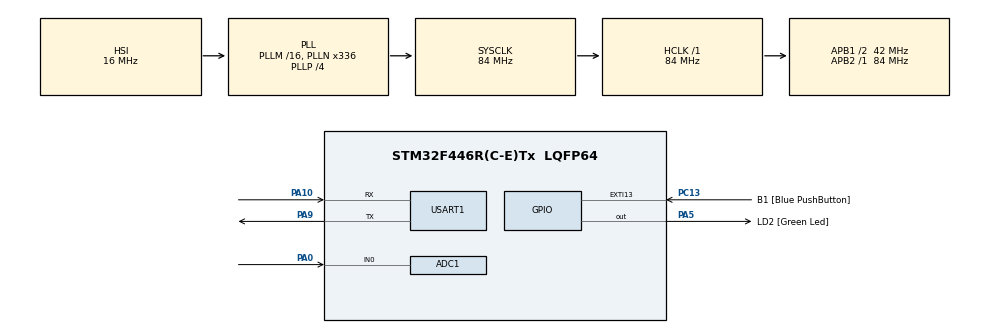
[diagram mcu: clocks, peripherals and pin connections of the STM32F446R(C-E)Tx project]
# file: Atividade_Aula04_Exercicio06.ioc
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ADC1.Channel-0\#ChannelRegularConversion=ADC_CHANNEL_0
ADC1.NbrOfConversionFlag=1
ADC1.Rank-0\#ChannelRegularConversion=1
ADC1.SamplingTime-0\#ChannelRegularConversion=ADC_SAMPLETIME_3CYCLES
ADC1.master=1
FREERTOS.BinarySemaphores01=semStart,Dynamic,NULL,Depleted;semCalc,Dynamic,NULL,Depleted;semSave,Dynamic,NULL,Depleted;semSend,Dynamic,NULL,Depleted
FREERTOS.Events01=TaskADCInit,Dynamic,NULL
FREERTOS.Tasks01=TaskADC,24,256,StartTaskADC,Default,NULL,Dynamic,NULL,NULL;TaskCalc,8,256,StartTaskCalc,Default,NULL,Dynamic,NULL,NULL;TaskSave,8,256,StartTaskSave,Default,NULL,Dynamic,NULL,NULL;TaskSend,8,256,StartTaskSend,Default,NULL,Dynamic,NULL,NULL
FREERTOS.configUSE_NEWLIB_REENTRANT=1
Mcu.Family=STM32F4
Mcu.Name=STM32F446R(C-E)Tx
Mcu.Package=LQFP64
NVIC.EXTI15_10_IRQn=true\:5\:0\:false\:false\:true\:true\:true\:true\:true
NVIC.PriorityGroup=NVIC_PRIORITYGROUP_4
NVIC.TIM6_DAC_IRQn=true\:15\:0\:false\:false\:true\:false\:false\:true\:true
NVIC.TimeBase=TIM6_DAC_IRQn
NVIC.TimeBaseIP=TIM6
PA0-WKUP.Signal=ADCx_IN0
PA10.Mode=Asynchronous
PA10.Signal=USART1_RX
PA13.GPIO_Label=TMS
PA13.Mode=Serial_Wire
PA13.Signal=SYS_JTMS-SWDIO
PA14.GPIO_Label=TCK
PA14.Mode=Serial_Wire
PA14.Signal=SYS_JTCK-SWCLK
PA5.GPIO_Label=LD2 [Green Led]
PA5.Signal=GPIO_Output
PA9.Mode=Asynchronous
PA9.Signal=USART1_TX
PB3.GPIO_Label=SWO
PB3.Signal=SYS_JTDO-SWO
PC13.GPIO_Label=B1 [Blue PushButton]
PC13.GPIO_ModeDefaultEXTI=GPIO_MODE_IT_FALLING
PC13.Signal=GPXTI13
PC14-OSC32_IN.Mode=LSE-External-Oscillator
PC14-OSC32_IN.Signal=RCC_OSC32_IN
PC15-OSC32_OUT.Mode=LSE-External-Oscillator
PC15-OSC32_OUT.Signal=RCC_OSC32_OUT
PH0-OSC_IN.Mode=HSE-External-Oscillator
PH0-OSC_IN.Signal=RCC_OSC_IN
PH1-OSC_OUT.Mode=HSE-External-Oscillator
PH1-OSC_OUT.Signal=RCC_OSC_OUT
ProjectManager.HeapSize=0x200
ProjectManager.StackSize=0x400
ProjectManager.TargetToolchain=STM32CubeIDE
RCC.48MHZClocksFreq_Value=84000000
RCC.AHBFreq_Value=84000000
RCC.APB1CLKDivider=RCC_HCLK_DIV2
RCC.APB1Freq_Value=42000000
RCC.APB1TimFreq_Value=84000000
RCC.APB2Freq_Value=84000000
RCC.APB2TimFreq_Value=84000000
RCC.CortexFreq_Value=84000000
RCC.FLatency-AdvancedSettings=FLASH_LATENCY_2
RCC.HCLKFreq_Value=84000000
RCC.HSE_VALUE=8000000
RCC.HSI_VALUE=16000000
RCC.PLLN=336
RCC.PLLP=RCC_PLLP_DIV4
RCC.SYSCLKFreq_VALUE=84000000
RCC.SYSCLKSource=RCC_SYSCLKSOURCE_PLLCLK
RCC.USBFreq_Value=168000000
RCC.VCOOutputFreq_Value=336000000
SH.ADCx_IN0.0=ADC1_IN0,IN0
USART1.VirtualMode=VM_ASYNC
VP_FREERTOS_VS_CMSIS_V2.Mode=CMSIS_V2
VP_SYS_VS_tim6.Mode=TIM6
board=NUCLEO-F446RE

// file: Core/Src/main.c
/* USER CODE BEGIN Header */
/**
  ******************************************************************************
  * @file           : main.c
  * @brief          : Main program body
  ******************************************************************************
  * @attention
  *
  * Copyright (c) 2025 STMicroelectronics.
  * All rights reserved.
  *
  * This software is licensed under terms that can be found in the LICENSE file
  * in the root directory of this software component.
  * If no LICENSE file comes with this software, it is provided AS-IS.
  *
  ******************************************************************************
  */
/* USER CODE END Header */
#include "main.h"
#include "cmsis_os.h"

/* USER CODE BEGIN Includes */
#include<string.h>
#include<stdio.h>

/* USER CODE END Includes */

/* USER CODE BEGIN PD */
/*#define TASK_ADC_INIT 0x001*/
#define ADC_SAMPLES 100
#define SIZE_HISTORY_ADC 10

/* USER CODE END PD */

ADC_HandleTypeDef hadc1;

UART_HandleTypeDef huart1;

/* Definitions for TaskADC */
osThreadId_t TaskADCHandle;
const osThreadAttr_t TaskADC_attributes = {
  .name = "TaskADC",
  .stack_size = 256 * 4,
  .priority = (osPriority_t) osPriorityNormal,
};
/* Definitions for TaskCalc */
osThreadId_t TaskCalcHandle;
const osThreadAttr_t TaskCalc_attributes = {
  .name = "TaskCalc",
  .stack_size = 256 * 4,
  .priority = (osPriority_t) osPriorityLow,
};
/* Definitions for TaskSave */
osThreadId_t TaskSaveHandle;
const osThreadAttr_t TaskSave_attributes = {
  .name = "TaskSave",
  .stack_size = 256 * 4,
  .priority = (osPriority_t) osPriorityLow,
};
/* Definitions for TaskSend */
osThreadId_t TaskSendHandle;
const osThreadAttr_t TaskSend_attributes = {
  .name = "TaskSend",
  .stack_size = 256 * 4,
  .priority = (osPriority_t) osPriorityLow,
};
/* Definitions for semStart */
osSemaphoreId_t semStartHandle;
const osSemaphoreAttr_t semStart_attributes = {
  .name = "semStart"
};
/* Definitions for semCalc */
osSemaphoreId_t semCalcHandle;
const osSemaphoreAttr_t semCalc_attributes = {
  .name = "semCalc"
};
/* Definitions for semSave */
osSemaphoreId_t semSaveHandle;
const osSemaphoreAttr_t semSave_attributes = {
  .name = "semSave"
};
/* Definitions for semSend */
osSemaphoreId_t semSendHandle;
const osSemaphoreAttr_t semSend_attributes = {
  .name = "semSend"
};
/* Definitions for TaskADCInit */
osEventFlagsId_t TaskADCInitHandle;
const osEventFlagsAttr_t TaskADCInit_attributes = {
  .name = "TaskADCInit"
};
/* USER CODE BEGIN PV */
double ADC_Buffer[ADC_SAMPLES] = {0};
double HistoryADCAverage[SIZE_HISTORY_ADC] = {0};
double average;

/* USER CODE END PV */

void SystemClock_Config(void);
static void MX_GPIO_Init(void);
static void MX_USART1_UART_Init(void);
static void MX_ADC1_Init(void);
void StartTaskADC(void *argument);
void StartTaskCalc(void *argument);
void StartTaskSave(void *argument);
void StartTaskSend(void *argument);

/* USER CODE BEGIN 0 */
void HAL_GPIO_EXTI_Callback(uint16_t GPIO_Pin)
{
	if(GPIO_Pin == B1_Pin)
	{
		/*osEventFlagsSet(TaskADCInitHandle,TASK_ADC_INIT);*/
		osSemaphoreRelease(semStartHandle);

	}

}

double map(uint16_t x, float in_min, float in_max, float out_min, float out_max)
{
    return (x - in_min) * (out_max - out_min) / (in_max - in_min) + out_min;
}

/* USER CODE END 0 */

int main(void)
{

  /* MCU Configuration--------------------------------------------------------*/

  /* Reset of all peripherals, Initializes the Flash interface and the Systick. */
  HAL_Init();

  /* Configure the system clock */
  SystemClock_Config();

  /* Initialize all configured peripherals */
  MX_GPIO_Init();
  MX_USART1_UART_Init();
  MX_ADC1_Init();

  /* Init scheduler */
  osKernelInitialize();

  /* Create the semaphores(s) */
  /* creation of semStart */
  semStartHandle = osSemaphoreNew(1, 0, &semStart_attributes);

  /* creation of semCalc */
  semCalcHandle = osSemaphoreNew(1, 0, &semCalc_attributes);

  /* creation of semSave */
  semSaveHandle = osSemaphoreNew(1, 0, &semSave_attributes);

  /* creation of semSend */
  semSendHandle = osSemaphoreNew(1, 0, &semSend_attributes);

  /* Create the thread(s) */
  /* creation of TaskADC */
  TaskADCHandle = osThreadNew(StartTaskADC, NULL, &TaskADC_attributes);

  /* creation of TaskCalc */
  TaskCalcHandle = osThreadNew(StartTaskCalc, NULL, &TaskCalc_attributes);

  /* creation of TaskSave */
  TaskSaveHandle = osThreadNew(StartTaskSave, NULL, &TaskSave_attributes);

  /* creation of TaskSend */
  TaskSendHandle = osThreadNew(StartTaskSend, NULL, &TaskSend_attributes);

  /* Create the event(s) */
  /* creation of TaskADCInit */
  TaskADCInitHandle = osEventFlagsNew(&TaskADCInit_attributes);

  /* Start scheduler */
  osKernelStart();

  /* We should never get here as control is now taken by the scheduler */

  /* Infinite loop */
  while (1)
  {

  }
}

void SystemClock_Config(void)
{
  RCC_OscInitTypeDef RCC_OscInitStruct = {0};
  RCC_ClkInitTypeDef RCC_ClkInitStruct = {0};

  /** Configure the main internal regulator output voltage
  */
  __HAL_RCC_PWR_CLK_ENABLE();
  __HAL_PWR_VOLTAGESCALING_CONFIG(PWR_REGULATOR_VOLTAGE_SCALE3);

  /** Initializes the RCC Oscillators according to the specified parameters
  * in the RCC_OscInitTypeDef structure.
  */
  RCC_OscInitStruct.OscillatorType = RCC_OSCILLATORTYPE_HSI;
  RCC_OscInitStruct.HSIState = RCC_HSI_ON;
  RCC_OscInitStruct.HSICalibrationValue = RCC_HSICALIBRATION_DEFAULT;
  RCC_OscInitStruct.PLL.PLLState = RCC_PLL_ON;
  RCC_OscInitStruct.PLL.PLLSource = RCC_PLLSOURCE_HSI;
  RCC_OscInitStruct.PLL.PLLM = 16;
  RCC_OscInitStruct.PLL.PLLN = 336;
  RCC_OscInitStruct.PLL.PLLP = RCC_PLLP_DIV4;
  RCC_OscInitStruct.PLL.PLLQ = 2;
  RCC_OscInitStruct.PLL.PLLR = 2;
  if (HAL_RCC_OscConfig(&RCC_OscInitStruct) != HAL_OK)
  {
    Error_Handler();
  }

  /** Initializes the CPU, AHB and APB buses clocks
  */
  RCC_ClkInitStruct.ClockType = RCC_CLOCKTYPE_HCLK|RCC_CLOCKTYPE_SYSCLK
                              |RCC_CLOCKTYPE_PCLK1|RCC_CLOCKTYPE_PCLK2;
  RCC_ClkInitStruct.SYSCLKSource = RCC_SYSCLKSOURCE_PLLCLK;
  RCC_ClkInitStruct.AHBCLKDivider = RCC_SYSCLK_DIV1;
  RCC_ClkInitStruct.APB1CLKDivider = RCC_HCLK_DIV2;
  RCC_ClkInitStruct.APB2CLKDivider = RCC_HCLK_DIV1;

  if (HAL_RCC_ClockConfig(&RCC_ClkInitStruct, FLASH_LATENCY_2) != HAL_OK)
  {
    Error_Handler();
  }
}

static void MX_ADC1_Init(void)
{

  ADC_ChannelConfTypeDef sConfig = {0};

  /** Configure the global features of the ADC (Clock, Resolution, Data Alignment and number of conversion)
  */
  hadc1.Instance = ADC1;
  hadc1.Init.ClockPrescaler = ADC_CLOCK_SYNC_PCLK_DIV4;
  hadc1.Init.Resolution = ADC_RESOLUTION_12B;
  hadc1.Init.ScanConvMode = DISABLE;
  hadc1.Init.ContinuousConvMode = DISABLE;
  hadc1.Init.DiscontinuousConvMode = DISABLE;
  hadc1.Init.ExternalTrigConvEdge = ADC_EXTERNALTRIGCONVEDGE_NONE;
  hadc1.Init.ExternalTrigConv = ADC_SOFTWARE_START;
  hadc1.Init.DataAlign = ADC_DATAALIGN_RIGHT;
  hadc1.Init.NbrOfConversion = 1;
  hadc1.Init.DMAContinuousRequests = DISABLE;
  hadc1.Init.EOCSelection = ADC_EOC_SINGLE_CONV;
  if (HAL_ADC_Init(&hadc1) != HAL_OK)
  {
    Error_Handler();
  }

  /** Configure for the selected ADC regular channel its corresponding rank in the sequencer and its sample time.
  */
  sConfig.Channel = ADC_CHANNEL_0;
  sConfig.Rank = 1;
  sConfig.SamplingTime = ADC_SAMPLETIME_3CYCLES;
  if (HAL_ADC_ConfigChannel(&hadc1, &sConfig) != HAL_OK)
  {
    Error_Handler();
  }

}

static void MX_USART1_UART_Init(void)
{

  huart1.Instance = USART1;
  huart1.Init.BaudRate = 115200;
  huart1.Init.WordLength = UART_WORDLENGTH_8B;
  huart1.Init.StopBits = UART_STOPBITS_1;
  huart1.Init.Parity = UART_PARITY_NONE;
  huart1.Init.Mode = UART_MODE_TX_RX;
  huart1.Init.HwFlowCtl = UART_HWCONTROL_NONE;
  huart1.Init.OverSampling = UART_OVERSAMPLING_16;
  if (HAL_UART_Init(&huart1) != HAL_OK)
  {
    Error_Handler();
  }

}

static void MX_GPIO_Init(void)
{
  GPIO_InitTypeDef GPIO_InitStruct = {0};

  /* GPIO Ports Clock Enable */
  __HAL_RCC_GPIOC_CLK_ENABLE();
  __HAL_RCC_GPIOH_CLK_ENABLE();
  __HAL_RCC_GPIOA_CLK_ENABLE();
  __HAL_RCC_GPIOB_CLK_ENABLE();

  /*Configure GPIO pin Output Level */
  HAL_GPIO_WritePin(LD2_GPIO_Port, LD2_Pin, GPIO_PIN_RESET);

  /*Configure GPIO pin : B1_Pin */
  GPIO_InitStruct.Pin = B1_Pin;
  GPIO_InitStruct.Mode = GPIO_MODE_IT_FALLING;
  GPIO_InitStruct.Pull = GPIO_NOPULL;
  HAL_GPIO_Init(B1_GPIO_Port, &GPIO_InitStruct);

  /*Configure GPIO pin : LD2_Pin */
  GPIO_InitStruct.Pin = LD2_Pin;
  GPIO_InitStruct.Mode = GPIO_MODE_OUTPUT_PP;
  GPIO_InitStruct.Pull = GPIO_NOPULL;
  GPIO_InitStruct.Speed = GPIO_SPEED_FREQ_LOW;
  HAL_GPIO_Init(LD2_GPIO_Port, &GPIO_InitStruct);

  /* EXTI interrupt init*/
  HAL_NVIC_SetPriority(EXTI15_10_IRQn, 5, 0);
  HAL_NVIC_EnableIRQ(EXTI15_10_IRQn);

}

void StartTaskADC(void *argument)
{
  /* USER CODE BEGIN 5 */
	const char *MSG_INIT = "Iniciando a Aquicicao de Dados do ADC ...";
	/*const char *MSG_INIT_ADC = "ADC(Anologic Digitak Converter) Inicializado com Sucesso";*/
	const char *MSG_SUCESS = "Leitura Realizada com Sucesso";
	const char *MSG_ERROR = "OCORREU UM ERRO NA LEITURA";

	uint16_t adc_value;

  /* Infinite loop */
  for(;;)
  {

	  /*uint32_t flag = osEventFlagsWait(TaskADCInitHandle,TASK_ADC_INIT,osFlagsWaitAny,osWaitForever);*/

	  /*if(flag == TASK_ADC_INIT)
	  {
		  HAL_UART_Transmit(&huart1,(uint8_t *)MSG_INIT,strlen(MSG_INIT),100);

		  osEventFlagsClear(TaskADCInitHandle,TASK_ADC_INIT);
	  }*/

	  osSemaphoreAcquire(semStartHandle, osWaitForever);
	  HAL_UART_Transmit(&huart1,(uint8_t *)MSG_INIT,strlen(MSG_INIT),100);

	  for(uint8_t i = 0;i<ADC_SAMPLES;i++)
	  {

		  HAL_ADC_Start(&hadc1);
		  if(HAL_ADC_PollForConversion(&hadc1, 100) == HAL_OK)
		  {
			  adc_value = HAL_ADC_GetValue(&hadc1);
			  HAL_UART_Transmit(&huart1,(uint8_t *)MSG_SUCESS,strlen(MSG_SUCESS),100);
			  ADC_Buffer[i] = map(adc_value,0,4095,0,3.3);
			  osDelay(100);

		  }

		  else
		  {
			  HAL_UART_Transmit(&huart1,(uint8_t *)MSG_ERROR,strlen(MSG_ERROR),100);
			  --i;

		  }

	  }

	  osSemaphoreRelease(semCalcHandle);

    osDelay(100);
  }
  /* USER CODE END 5 */
}

void StartTaskCalc(void *argument)
{
  /* USER CODE BEGIN StartTaskCalc */
	const char *MSG_INIT = "Iniciando o Calculo da Media";
	const char *MSG_SUCESS = "Media Calculada com Sucesso";
	/*const char *MSG_ERROR = "Error no Calculo da Media";*/
  /* Infinite loop */
	double sum  = 0;
  for(;;)
  {
	  osSemaphoreAcquire(semCalcHandle,osWaitForever);
	  HAL_UART_Transmit(&huart1,(uint8_t *)MSG_INIT,strlen(MSG_INIT),100);
	  osDelay(200);

	  for(uint8_t i = 0;i<ADC_SAMPLES;i++)
	  {
		  sum+=ADC_Buffer[i];

	  }
	  average = sum/ADC_SAMPLES;
	  sum = 0;
	  HAL_UART_Transmit(&huart1,(uint8_t *)MSG_SUCESS,strlen(MSG_SUCESS),100);
	  osDelay(200);
	  osSemaphoreRelease(semSaveHandle);

    osDelay(100);
  }
  /* USER CODE END StartTaskCalc */
}

void StartTaskSave(void *argument)
{
  /* USER CODE BEGIN StartTaskSave */
	const char *MSG_INIT = "Salvando no Historico de Medias";
	const char *MSG_SUCESS = "Media Salva com Sucesso !";
	static uint8_t index = 0;
  /* Infinite loop */
  for(;;)
  {
	  osSemaphoreAcquire(semSaveHandle,osWaitForever);
	  HAL_UART_Transmit(&huart1,(uint8_t *)MSG_INIT,strlen(MSG_INIT),100);
	  osDelay(200);
	  HistoryADCAverage[index] = average;
	  HAL_UART_Transmit(&huart1,(uint8_t *)MSG_SUCESS,strlen(MSG_SUCESS),100);
	  osDelay(200);
	  index = (index + 1) % 10;

	  osSemaphoreRelease(semSendHandle);
      osDelay(100);
  }
  /* USER CODE END StartTaskSave */
}

void StartTaskSend(void *argument)
{
  /* USER CODE BEGIN StartTaskSend */

	const char* MSG_INIT = "Enviando a Media,Aguarde...";
	char send[50];
  /* Infinite loop */
  for(;;)
  {
	  osSemaphoreAcquire(semSendHandle,osWaitForever);
	  HAL_UART_Transmit(&huart1,(uint8_t *)MSG_INIT,strlen(MSG_INIT),100);
	  osDelay(200);

	  snprintf(send,50,"Media Enviada : %.2lf",average);
	  HAL_UART_Transmit(&huart1,(uint8_t *)send, strlen(send),100);

    osDelay(100);
  }
  /* USER CODE END StartTaskSend */
}

void HAL_TIM_PeriodElapsedCallback(TIM_HandleTypeDef *htim)
{
  if (htim->Instance == TIM6) {
    HAL_IncTick();
  }
}

void Error_Handler(void)
{
  __disable_irq();
  while (1)
  {
  }
}
